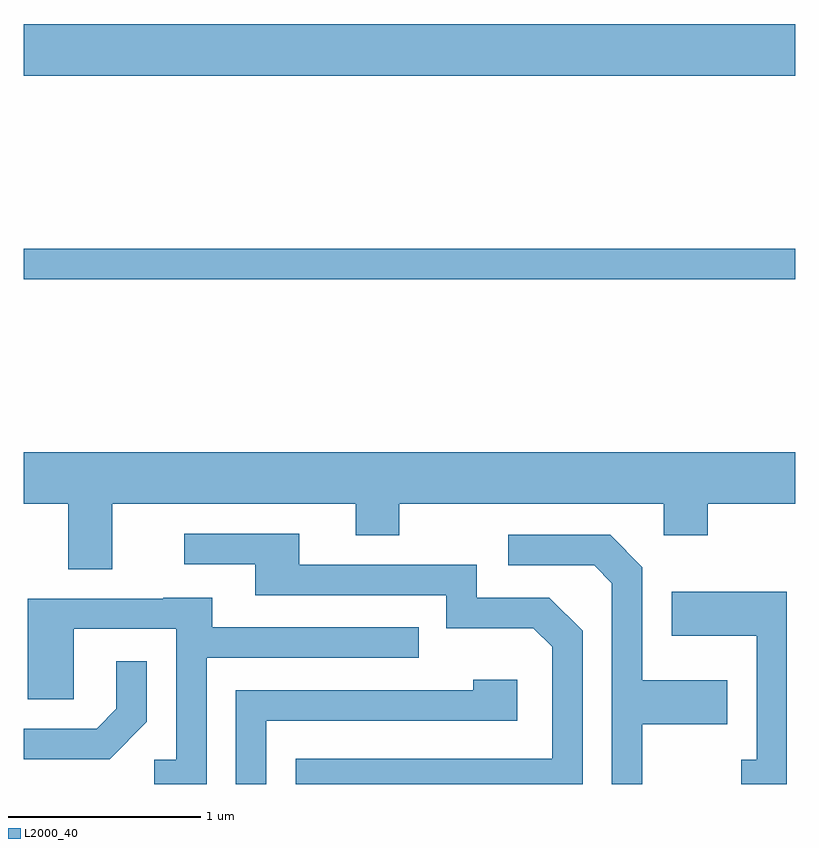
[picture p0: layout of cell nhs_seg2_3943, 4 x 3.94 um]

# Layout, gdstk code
import gdstk
lib = gdstk.Library(unit=1e-6, precision=1e-09)
def R(c, l, rs):  # rectangles x0, y0, x1, y1
    for r in rs: c.add(gdstk.rectangle(r[:2], r[2:], *l))
def P(c, l, *ps):  # polygons
    for p in ps: c.add(gdstk.Polygon(p, *l))
L2000_40 = (2000, 40)

nhs_seg2_3943 = lib.new_cell('nhs_seg2_3943')
R(nhs_seg2_3943, L2000_40, [(301.611,998.421,305.611,998.579), (301.611,999.476,305.611,999.744)])
P(nhs_seg2_3943, L2000_40, [(302.069,997.256),(303.331,997.256),(303.331,997.091),(303.559,997.091),(303.559,997.256),(304.931,997.256),(304.931,997.091),(305.159,997.091),(305.159,997.256),(305.611,997.256),(305.611,997.524),(301.611,997.524),(301.611,997.256),(301.841,997.256),(301.841,996.916),(302.069,996.916)],
  [(304.509,996.597),(304.337,996.769),(303.959,996.769),(303.959,996.939),(303.039,996.939),(303.039,997.099),(302.443,997.099),(302.443,996.941),(302.811,996.941),(302.811,996.781),(303.801,996.781),(303.801,996.611),(304.254,996.611),(304.351,996.514),(304.351,995.934),(303.021,995.934),(303.021,995.802),(304.509,995.802)],
  [(304.819,996.111),(305.259,996.111),(305.259,996.339),(304.819,996.339),(304.819,996.927),(304.652,997.094),(304.123,997.094),(304.123,996.936),(304.569,996.936),(304.661,996.844),(304.661,995.802),(304.819,995.802)],
  [(305.569,996.799),(304.971,996.799),(304.971,996.571),(305.411,996.571),(305.411,995.929),(305.333,995.929),(305.333,995.802),(305.569,995.802)],
  [(302.559,996.456),(303.658,996.456),(303.658,996.614),(302.589,996.614),(302.589,996.769),(302.335,996.769),(302.335,996.764),(301.631,996.764),(301.631,996.241),(301.869,996.241),(301.869,996.606),(302.401,996.606),(302.401,995.929),(302.288,995.929),(302.288,995.802),(302.559,995.802)],
  [(302.249,996.124),(302.249,996.438),(302.091,996.438),(302.091,996.192),(301.989,996.089),(301.611,996.089),(301.611,995.931),(302.057,995.931)],
  [(302.869,996.131),(304.169,996.131),(304.169,996.344),(303.941,996.344),(303.941,996.289),(302.711,996.289),(302.711,995.802),(302.869,995.802)])

lib.write_gds('nhs_seg2_3943.gds')
